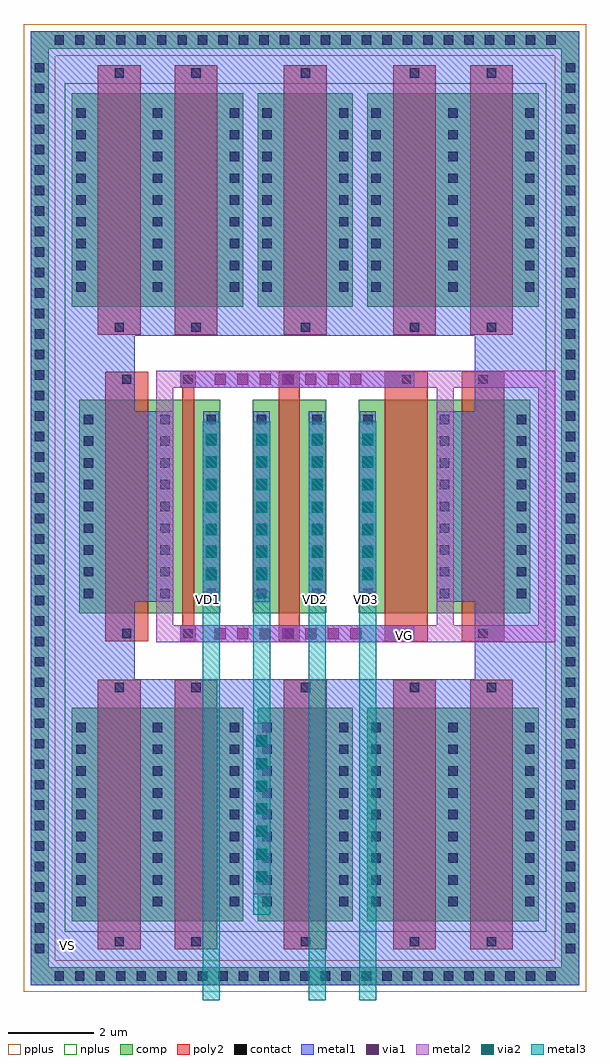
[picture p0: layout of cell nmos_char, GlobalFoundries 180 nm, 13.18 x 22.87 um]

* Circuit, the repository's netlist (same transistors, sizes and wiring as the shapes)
** sch_path: /home/gmaranhao/Desktop/Bracolin/Current_Source/nmos_char.sch
.subckt nmos_char VD1 VD2 VD3 VG VS
*.PININFO VD1:B VD2:B VD3:B VG:B VS:B
M1 VD1 VG VS VS nfet_03v3 L=0.28u W=5u nf=1 m=1
M2 VD2 VG VS VS nfet_03v3 L=0.5u W=5u nf=1 m=1
M3 VD3 VG VS VS nfet_03v3 L=1u W=5u nf=1 m=1
M4[1] VS VS VS VS nfet_03v3 L=1u W=5u nf=1 m=1
M4[2] VS VS VS VS nfet_03v3 L=1u W=5u nf=1 m=1
M4[3] VS VS VS VS nfet_03v3 L=1u W=5u nf=1 m=1
M4[4] VS VS VS VS nfet_03v3 L=1u W=5u nf=1 m=1
M4[5] VS VS VS VS nfet_03v3 L=1u W=5u nf=1 m=1
M4[6] VS VS VS VS nfet_03v3 L=1u W=5u nf=1 m=1
M4[7] VS VS VS VS nfet_03v3 L=1u W=5u nf=1 m=1
M4[8] VS VS VS VS nfet_03v3 L=1u W=5u nf=1 m=1
M4[9] VS VS VS VS nfet_03v3 L=1u W=5u nf=1 m=1
M4[10] VS VS VS VS nfet_03v3 L=1u W=5u nf=1 m=1
M4[11] VS VS VS VS nfet_03v3 L=1u W=5u nf=1 m=1
M4[12] VS VS VS VS nfet_03v3 L=1u W=5u nf=1 m=1
.ends
.end

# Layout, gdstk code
from math import pi, radians
import gdstk
lib = gdstk.Library(unit=1e-6, precision=1e-09)
def R(c, l, rs):  # rectangles x0, y0, x1, y1
    for r in rs: c.add(gdstk.rectangle(r[:2], r[2:], *l))
def A(c, l, x, y, w, h, nx, ny, dx, dy):  # array of equal rectangles
    R(c, l, [(x+i*dx, y+j*dy, x+i*dx+w, y+j*dy+h) for i in range(nx) for j in range(ny)])
comp = (22, 0)
poly2 = (30, 0)
pplus = (31, 0)
nplus = (32, 0)
contact = (33, 0)
metal1 = (34, 0)
via1 = (35, 0)
metal2 = (36, 0)
via2 = (38, 0)
metal3 = (42, 0)

nfet = lib.new_cell('nfet')
R(nfet, comp, [(-0.42,0,0,5), (0,0,0.66,5), (0.66,0,1.08,5)])
R(nfet, poly2, [(0.15,-0.66,0.51,-0.3), (0.19,-0.3,0.47,5.3), (0.15,5.3,0.51,5.66)])
R(nfet, nplus, [(-0.59,-0.24,1.25,5.24)])
A(nfet, contact, -0.32, 0.35, 0.22, 0.22, 1, 9, 0, 0.51)
A(nfet, contact, 0.76, 0.35, 0.22, 0.22, 1, 9, 0, 0.51)
R(nfet, contact, [(0.22,-0.59,0.44,-0.37), (0.22,5.37,0.44,5.59)])
R(nfet, metal1, [(0.14,-0.671,0.52,-0.289), (-0.4,0.27,-0.02,4.73), (0.68,0.27,1.06,4.73), (0.14,5.289,0.52,5.671)])

nfet_1 = lib.new_cell('nfet$1')
R(nfet_1, comp, [(-0.42,0,0,5), (0,0,0.88,5), (0.88,0,1.3,5)])
R(nfet_1, poly2, [(0.19,-0.66,0.69,-0.3), (0.19,-0.3,0.69,5.3), (0.19,5.3,0.69,5.66)])
R(nfet_1, nplus, [(-0.59,-0.24,1.47,5.24)])
A(nfet_1, contact, -0.32, 0.35, 0.22, 0.22, 1, 9, 0, 0.51)
A(nfet_1, contact, 0.98, 0.35, 0.22, 0.22, 1, 9, 0, 0.51)
R(nfet_1, contact, [(0.33,-0.59,0.55,-0.37), (0.33,5.37,0.55,5.59)])
R(nfet_1, metal1, [(0.25,-0.671,0.63,-0.289), (-0.4,0.27,-0.02,4.73), (0.9,0.27,1.28,4.73), (0.25,5.289,0.63,5.671)])

nfet_2 = lib.new_cell('nfet$2')
R(nfet_2, comp, [(-0.42,0,0,5), (0,0,1.38,5), (1.38,0,1.8,5)])
R(nfet_2, poly2, [(0.19,-0.66,1.19,-0.3), (0.19,-0.3,1.19,5.3), (0.19,5.3,1.19,5.66)])
R(nfet_2, nplus, [(-0.59,-0.24,1.97,5.24)])
A(nfet_2, contact, -0.32, 0.35, 0.22, 0.22, 1, 9, 0, 0.51)
A(nfet_2, contact, 1.48, 0.35, 0.22, 0.22, 1, 9, 0, 0.51)
R(nfet_2, contact, [(0.58,-0.59,0.8,-0.37), (0.58,5.37,0.8,5.59)])
R(nfet_2, metal1, [(0.5,-0.671,0.88,-0.289), (-0.4,0.27,-0.02,4.73), (1.4,0.27,1.78,4.73), (0.5,5.289,0.88,5.671)])

via_dev_1 = lib.new_cell('via_dev$1')
R(via_dev_1, metal1, [(0,0,0.4,4)])
A(via_dev_1, via1, 0.07, 0.28, 0.26, 0.26, 1, 7, 0, 0.53)
R(via_dev_1, metal2, [(0,0,0.4,4)])
A(via_dev_1, via2, 0.07, 0.28, 0.26, 0.26, 1, 7, 0, 0.53)
R(via_dev_1, metal3, [(0,0,0.4,4)])

via_dev = lib.new_cell('via_dev')
R(via_dev, metal1, [(0,0,4,0.4)])
A(via_dev, via1, 0.28, 0.07, 0.26, 0.26, 7, 1, 0.53, 0)
R(via_dev, metal2, [(0,0,4,0.4)])

via_dev_3 = lib.new_cell('via_dev$3')
R(via_dev_3, comp, [(0,0,0.42,12.02)])
A(via_dev_3, contact, 0.1, 0.14, 0.22, 0.22, 1, 25, 0, 0.48)
R(via_dev_3, metal1, [(0,0,0.42,12.02)])

via_dev_4 = lib.new_cell('via_dev$4')
R(via_dev_4, comp, [(0,0,21.52,0.42)])
A(via_dev_4, contact, 0.33, 0.1, 0.22, 0.22, 44, 1, 0.48, 0)
R(via_dev_4, metal1, [(0,0,21.52,0.42)])

nmos_char = lib.new_cell('nmos_char')
R(nmos_char, comp, [(-3.46,-8.66,-3.04,-8.24), (8.975,-8.66,9.395,-8.24), (-3.46,13.275,-3.04,13.695), (8.975,13.275,9.395,13.695)])
R(nmos_char, nplus, [(-2.665,-7.405,8.615,12.475)])
R(nmos_char, metal1, [(-3.46,-8.66,-3.04,-8.24), (8.975,-8.66,9.395,-8.24), (-3.46,-8.385,9.395,-1.49), (-3.46,-1.765,-1.02,6.57), (6.95,-1.765,9.395,6.57), (-2.3,0.325,-0.12,4.785), (6.05,0.325,8.23,4.785), (-3.46,6.56,9.395,13.695), (-3.46,13.275,-3.04,13.695), (8.975,13.275,9.395,13.695)])
nmos_char.add(gdstk.FlexPath([(5.53,-0.425),(0.04,-0.425)], 0.4, ends="flush", simple_path=True, layer=34, datatype=0))  # metal1
nmos_char.add(gdstk.FlexPath([(5.53,5.535),(0.04,5.535)], 0.4, ends="flush", simple_path=True, layer=34, datatype=0))  # metal1
nmos_char.add(gdstk.FlexPath([(4.16,-0.425),(6.25,-0.425),(6.25,5.535),(4.52,5.535)], 0.4, ends="flush", simple_path=True, layer=36, datatype=0))  # metal2
nmos_char.add(gdstk.FlexPath([(0.59,-0.425),(-0.32,-0.425),(-0.32,5.535),(0.58,5.535)], 0.4, ends="flush", simple_path=True, layer=36, datatype=0))  # metal2
nmos_char.add(gdstk.FlexPath([(6.125,5.535),(8.63,5.535),(8.63,-0.425),(6.195,-0.425)], 0.4, ends="flush", simple_path=True, layer=36, datatype=0))  # metal2
nmos_char.add(gdstk.FlexPath([(0.775,2.54),(0.775,-9.01)], 0.4, ends="flush", simple_path=True, layer=42, datatype=0))  # metal3
nmos_char.add(gdstk.FlexPath([(1.95,2.54),(1.95,-7.015)], 0.4, ends="flush", simple_path=True, layer=42, datatype=0))  # metal3
nmos_char.add(gdstk.FlexPath([(3.25,2.54),(3.25,-9.01)], 0.4, ends="flush", simple_path=True, layer=42, datatype=0))  # metal3
nmos_char.add(gdstk.FlexPath([(4.44,2.54),(4.44,-9.01)], 0.4, ends="flush", simple_path=True, layer=42, datatype=0))  # metal3
nmos_char.add(gdstk.FlexPath([(-3.25,13.86),(-3.25,-8.815)], 0.74, ends="flush", simple_path=True, layer=31, datatype=0))  # pplus
nmos_char.add(gdstk.FlexPath([(-3.235,13.49),(9.335,13.49)], 0.74, ends="flush", simple_path=True, layer=31, datatype=0))  # pplus
nmos_char.add(gdstk.FlexPath([(9.185,13.86),(9.185,-8.815)], 0.74, ends="flush", simple_path=True, layer=31, datatype=0))  # pplus
nmos_char.add(gdstk.FlexPath([(-3.235,-8.445),(9.335,-8.445)], 0.74, ends="flush", simple_path=True, layer=31, datatype=0))  # pplus
nmos_char.add(gdstk.Reference(nfet, (-0.1,0.055)))
nmos_char.add(gdstk.Reference(nfet_1, (2.16,0.055)))
nmos_char.add(gdstk.Reference(nfet_2, (4.65,0.055)))
nmos_char.add(gdstk.Reference(nfet_2, (6.45,0.055)))
nmos_char.add(gdstk.Reference(nfet_2, (4.845,7.235)))
nmos_char.add(gdstk.Reference(nfet_2, (6.645,7.235)))
nmos_char.add(gdstk.Reference(nfet_2, (-0.275,7.235)))
nmos_char.add(gdstk.Reference(nfet_2, (2.285,7.235)))
nmos_char.add(gdstk.Reference(nfet_2, (-1.9,0.055)))
nmos_char.add(gdstk.Reference(nfet_2, (-2.075,7.235)))
nmos_char.add(gdstk.Reference(nfet_2, (4.845,-7.165)))
nmos_char.add(gdstk.Reference(nfet_2, (6.645,-7.165)))
nmos_char.add(gdstk.Reference(nfet_2, (-0.275,-7.165)))
nmos_char.add(gdstk.Reference(nfet_2, (2.285,-7.165)))
nmos_char.add(gdstk.Reference(nfet_2, (-2.075,-7.165)))
nmos_char.add(gdstk.Reference(via_dev_1, (0.57,0.54)))
nmos_char.add(gdstk.Reference(via_dev_1, (1.75,0.54)))
nmos_char.add(gdstk.Reference(via_dev_1, (3.05,0.54)))
nmos_char.add(gdstk.Reference(via_dev_1, (4.24,0.54)))
nmos_char.add(gdstk.Reference(via_dev_1, (1.75,-6.53)))
nmos_char.add(gdstk.Reference(via_dev, (0.57,-0.625)))
nmos_char.add(gdstk.Reference(via_dev, (0.57,5.335)))
nmos_char.add(gdstk.Reference(via_dev_3, (-3.04,13.695), rotation=3*pi/2))
nmos_char.add(gdstk.Reference(via_dev_4, (8.975,13.275), rotation=3*pi/2))
nmos_char.add(gdstk.Reference(via_dev_3, (-3.04,-8.24), rotation=3*pi/2))
nmos_char.add(gdstk.Reference(via_dev_4, (-3.46,13.275), rotation=3*pi/2))
nmos_char.add(gdstk.Label('VS', (-2.59,-7.73), layer=34, texttype=10))
nmos_char.add(gdstk.Label('VD1', (0.71,0.38), layer=34, texttype=10))
nmos_char.add(gdstk.Label('VD2', (3.22,0.38), layer=34, texttype=10))
nmos_char.add(gdstk.Label('VD3', (4.405,0.38), layer=34, texttype=10))
nmos_char.add(gdstk.Label('VG', (5.3,-0.47), layer=34, texttype=10))

lib.write_gds('nmos_char.gds')
